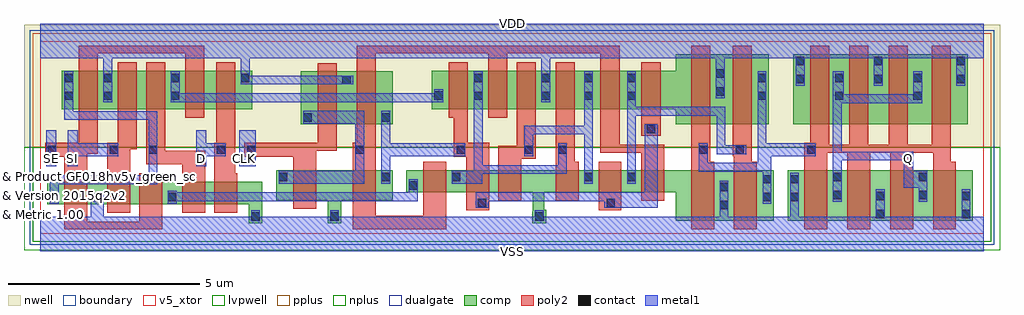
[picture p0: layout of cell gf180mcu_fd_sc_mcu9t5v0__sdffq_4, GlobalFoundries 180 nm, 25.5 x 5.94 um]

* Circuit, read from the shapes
.subckt gf180mcu_fd_sc_mcu9t5v0__sdffq_4 CLK D Q SE SI VDD VSS
XM1 VSS SE n1 VSUBS nfet_05v0 w=0.58u l=0.6u
XM2 n2 SI VSS VSUBS nfet_05v0 w=0.58u l=0.6u
XM3 n3 SE n2 VSUBS nfet_05v0 w=0.58u l=0.6u
XM4 n4 n1 n3 VSUBS nfet_05v0 w=0.58u l=0.6u
XM5 VSS D n4 VSUBS nfet_05v0 w=0.58u l=0.6u
XM6 VSS CLK n5 VSUBS nfet_05v0 w=0.79u l=0.6u
XM7 n6 n5 VSS VSUBS nfet_05v0 w=0.79u l=0.6u
XM8 n7 n5 n3 VSUBS nfet_05v0 w=0.58u l=0.6u
XM9 n8 n6 n7 VSUBS nfet_05v0 w=0.58u l=0.6u
XM10 VSS n9 n8 VSUBS nfet_05v0 w=0.58u l=0.6u
XM11 n9 n7 VSS VSUBS nfet_05v0 w=0.58u l=0.6u
XM12 n10 n6 n9 VSUBS nfet_05v0 w=0.58u l=0.6u
XM13 n11 n5 n10 VSUBS nfet_05v0 w=0.58u l=0.6u
XM14 VSS n12 n11 VSUBS nfet_05v0 w=1.32u l=0.6u
XM15 n12 n10 VSS VSUBS nfet_05v0 w=1.32u l=0.6u
XM16 Q n12 VSS VSUBS nfet_05v0 w=1.32u l=0.6u m=4
XM17 VDD SE n1 n13 pfet_05v0 w=1u l=0.5u
XM18 n14 SI VDD n13 pfet_05v0 w=1u l=0.5u
XM19 n15 n1 n14 n13 pfet_05v0 w=1u l=0.5u
XM20 n16 SE n15 n13 pfet_05v0 w=1u l=0.5u
XM21 VDD D n16 n13 pfet_05v0 w=1u l=0.5u
XM22 VDD CLK n5 n13 pfet_05v0 w=1.38u l=0.5u
XM23 n6 n5 VDD n13 pfet_05v0 w=1.38u l=0.5u
XM24 n7 n6 n15 n13 pfet_05v0 w=1u l=0.5u
XM25 n17 n5 n7 n13 pfet_05v0 w=1u l=0.5u
XM26 VDD n9 n17 n13 pfet_05v0 w=1u l=0.5u
XM27 n9 n7 VDD n13 pfet_05v0 w=1u l=0.5u
XM28 n10 n5 n9 n13 pfet_05v0 w=1u l=0.5u
XM29 n18 n6 n10 n13 pfet_05v0 w=1u l=0.5u
XM30 VDD n12 n18 n13 pfet_05v0 w=1.83u l=0.5u
XM31 n12 n10 VDD n13 pfet_05v0 w=1.83u l=0.5u
XM32 Q n12 VDD n13 pfet_05v0 w=1.83u l=0.5u m=4
.ends

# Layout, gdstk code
import gdstk
lib = gdstk.Library(unit=1e-6, precision=1e-09)
def R(c, l, rs):  # rectangles x0, y0, x1, y1
    for r in rs: c.add(gdstk.rectangle(r[:2], r[2:], *l))
def A(c, l, x, y, w, h, nx, ny, dx, dy):  # array of equal rectangles
    R(c, l, [(x+i*dx, y+j*dy, x+i*dx+w, y+j*dy+h) for i in range(nx) for j in range(ny)])
def P(c, l, *ps):  # polygons
    for p in ps: c.add(gdstk.Polygon(p, *l))
boundary = (0, 0)
nwell = (21, 0)
comp = (22, 0)
poly2 = (30, 0)
pplus = (31, 0)
nplus = (32, 0)
contact = (33, 0)
metal1 = (34, 0)
dualgate = (55, 0)
v5_xtor = (112, 1)
lvpwell = (204, 0)

gf180mcu_fd_sc_mcu9t5v0_ = lib.new_cell('gf180mcu_fd_sc_mcu9t5v0__sdffq_4')
R(gf180mcu_fd_sc_mcu9t5v0_, boundary, [(0,0,24.64,5.04)])
R(gf180mcu_fd_sc_mcu9t5v0_, nwell, [(-0.43,2.265,25.07,5.47)])
R(gf180mcu_fd_sc_mcu9t5v0_, comp, [(19.52,0.345,24.36,1.665), (6.8,2.865,9.2,4.245), (19.67,2.865,24.225,4.695), (0.56,3.26,5.53,4.26)])
P(gf180mcu_fd_sc_mcu9t5v0_, comp, [(5.44,0.275),(5.44,0.78),(0.18,0.78),(0.18,1.36),(5.8,1.36),(5.8,0.275)],
  [(7.5,0.275),(7.5,0.875),(6.16,0.875),(6.16,1.665),(9.2,1.665),(9.2,0.875),(7.86,0.875),(7.86,0.275)],
  [(16.6,2.865),(16.6,3.26),(10.225,3.26),(10.225,4.26),(16.6,4.26),(16.6,4.695),(19.03,4.695),(19.03,2.865)],
  [(12.855,0.275),(12.855,0.595),(12.86,0.595),(12.86,1.085),(9.56,1.085),(9.56,1.665),(19.16,1.665),(19.16,0.345),(16.6,0.345),(16.6,1.085),(13.16,1.085),(13.16,0.635),(13.215,0.635),(13.215,0.275)])
R(gf180mcu_fd_sc_mcu9t5v0_, poly2, [(14.58,0.625,15.18,1.885), (15.7,2.565,16.2,4.48)])
P(gf180mcu_fd_sc_mcu9t5v0_, poly2, [(1.74,0.56),(1.74,2.38),(2.02,2.38),(2.02,4.48),(2.52,4.48),(2.52,2.215),(2.34,2.215),(2.34,0.56)],
  [(0.62,0.12),(0.62,2.02),(0.12,2.02),(0.12,2.38),(1,2.38),(1,4.92),(4.28,4.92),(4.28,3.04),(3.78,3.04),(3.78,4.72),(1.5,4.72),(1.5,2.095),(1.22,2.095),(1.22,0.32),(2.58,0.32),(2.58,1.58),(3.18,1.58),(3.18,0.12)],
  [(3.7,0.56),(3.7,1.82),(2.76,1.82),(2.76,4.48),(3.26,4.48),(3.26,2.18),(4.3,2.18),(4.3,0.56)],
  [(4.54,0.56),(4.54,2.38),(4.59,2.38),(4.59,4.48),(5.09,4.48),(5.09,1.58),(5.14,1.58),(5.14,0.56)],
  [(6.6,0.655),(6.6,2.02),(5.33,2.02),(5.33,2.38),(7.24,2.38),(7.24,4.465),(7.74,4.465),(7.74,2.18),(7.2,2.18),(7.2,0.655)],
  [(11.12,0.625),(11.12,2.02),(10.8,2.02),(10.8,3.04),(10.665,3.04),(10.665,4.48),(11.165,4.48),(11.165,2.38),(11.72,2.38),(11.72,0.625)],
  [(11.96,0.865),(11.96,2.305),(12.44,2.305),(12.44,4.48),(12.94,4.48),(12.94,1.965),(12.56,1.965),(12.56,0.865)],
  [(13.46,0.865),(13.46,4.48),(13.96,4.48),(13.96,1.885),(14.06,1.885),(14.06,0.865)],
  [(8.16,0.12),(8.16,2.38),(8.26,2.38),(8.26,4.92),(15.13,4.92),(15.13,2.325),(16.3,2.325),(16.3,0.865),(15.7,0.865),(15.7,2.125),(14.63,2.125),(14.63,4.72),(12.2,4.72),(12.2,3.04),(11.7,3.04),(11.7,4.72),(8.76,4.72),(8.76,0.48),(10,0.48),(10,1.885),(10.6,1.885),(10.6,0.12)],
  [(17,0.125),(17,4.915),(17.5,4.915),(17.5,1.885),(17.6,1.885),(17.6,0.125)],
  [(18.12,0.125),(18.12,2.03),(18.09,2.03),(18.09,4.915),(18.59,4.915),(18.59,1.885),(18.72,1.885),(18.72,0.125)],
  [(19.96,0.125),(19.96,2.38),(20.11,2.38),(20.11,4.915),(20.61,4.915),(20.61,2.325),(21.13,2.325),(21.13,4.915),(21.63,4.915),(21.63,2.325),(22.16,2.325),(22.16,4.915),(22.66,4.915),(22.66,2.325),(23.285,2.325),(23.285,4.915),(23.785,4.915),(23.785,1.885),(23.92,1.885),(23.92,0.125),(23.32,0.125),(23.32,2.125),(22.8,2.125),(22.8,0.125),(22.2,0.125),(22.2,2.125),(21.68,2.125),(21.68,0.125),(21.08,0.125),(21.08,2.125),(20.56,2.125),(20.56,0.125)])
R(gf180mcu_fd_sc_mcu9t5v0_, pplus, [(-0.2,2.265,24.84,5.24)])
R(gf180mcu_fd_sc_mcu9t5v0_, nplus, [(-0.2,-0.2,24.84,2.265)])
A(gf180mcu_fd_sc_mcu9t5v0_, contact, 13.09, 3.5, 0.22, 0.22, 3, 2, 1.12, 0.47)
R(gf180mcu_fd_sc_mcu9t5v0_, contact, [(5.51,0.345,5.73,0.565), (7.57,0.345,7.79,0.565), (12.925,0.345,13.145,0.565), (21.83,0.415,22.05,0.635), (24.07,0.415,24.29,0.635), (17.75,0.645,17.97,0.865), (11.43,0.695,11.65,0.915), (14.79,0.695,15.01,0.915), (0.25,0.85,0.47,1.07), (1.37,0.85,1.59,1.07), (3.33,0.85,3.55,1.07), (18.87,0.85,19.09,1.07), (19.59,0.85,19.81,1.07), (21.83,0.885,22.05,1.105), (24.07,0.885,24.29,1.105), (20.71,0.905,20.93,1.125), (22.95,0.905,23.17,1.125), (17.75,1.115,17.97,1.335), (9.63,1.155,9.85,1.375), (18.87,1.32,19.09,1.54), (19.59,1.32,19.81,1.54), (6.23,1.375,6.45,1.595), (8.91,1.375,9.13,1.595), (10.75,1.375,10.97,1.595), (14.21,1.375,14.43,1.595), (15.33,1.375,15.55,1.595), (20.71,1.375,20.93,1.595), (22.95,1.375,23.17,1.595), (0.19,2.09,0.41,2.31), (1.81,2.09,2.03,2.31), (2.83,2.09,3.05,2.31), (4.61,2.09,4.83,2.31), (5.4,2.09,5.62,2.31), (8.23,2.09,8.45,2.31), (10.87,2.09,11.09,2.31), (12.65,2.09,12.87,2.31), (13.53,2.09,13.75,2.31), (17.21,2.09,17.43,2.31), (18.16,2.09,18.38,2.31), (20.03,2.09,20.25,2.31), (15.845,2.635,16.065,2.855), (6.87,2.935,7.09,3.155), (8.91,2.935,9.13,3.155), (0.63,3.5,0.85,3.72), (1.65,3.5,1.87,3.72), (3.41,3.5,3.63,3.72), (11.33,3.5,11.55,3.72), (18.74,3.5,18.96,3.72), (20.76,3.5,20.98,3.72), (22.81,3.5,23.03,3.72), (10.295,3.505,10.515,3.725), (17.65,3.61,17.87,3.83), (7.89,3.91,8.11,4.13), (19.74,3.935,19.96,4.155), (21.78,3.935,22,4.155), (23.935,3.935,24.155,4.155), (5.24,3.965,5.46,4.185), (0.63,3.97,0.85,4.19), (1.65,3.97,1.87,4.19), (3.41,3.97,3.63,4.19), (11.33,3.97,11.55,4.19), (18.74,3.97,18.96,4.19), (20.76,3.97,20.98,4.19), (22.81,3.97,23.03,4.19), (17.65,4.08,17.87,4.3), (19.74,4.405,19.96,4.625), (21.78,4.405,22,4.625), (23.935,4.405,24.155,4.625)])
R(gf180mcu_fd_sc_mcu9t5v0_, metal1, [(0.15,1.77,0.415,2.71), (5.19,1.77,5.625,2.71)])
P(gf180mcu_fd_sc_mcu9t5v0_, metal1, [(0.71,1.77),(0.71,2.71),(0.97,2.71),(0.97,2.37),(2.035,2.37),(2.035,2.03),(0.97,2.03),(0.97,1.77)],
  [(0.245,0.79),(0.245,1.535),(2.825,1.535),(2.825,2.98),(0.625,2.98),(0.625,4.25),(0.855,4.25),(0.855,3.21),(3.055,3.21),(3.055,1.305),(0.475,1.305),(0.475,0.79)],
  [(4.07,1.77),(4.07,2.71),(4.33,2.71),(4.33,2.37),(4.835,2.37),(4.835,2.03),(4.33,2.03),(4.33,1.77)],
  [(6.225,1.315),(6.225,1.655),(8.225,1.655),(8.225,2.875),(6.865,2.875),(6.865,3.215),(8.455,3.215),(8.455,1.315)],
  [(3.325,0.79),(3.325,1.13),(3.555,1.13),(3.555,1.085),(9.625,1.085),(9.625,1.435),(9.855,1.435),(9.855,0.855),(3.555,0.855),(3.555,0.79)],
  [(3.405,3.44),(3.405,4.25),(3.635,4.25),(3.635,3.675),(10.29,3.675),(10.29,3.785),(10.52,3.785),(10.52,3.445),(3.635,3.445),(3.635,3.44)],
  [(8.905,1.315),(8.905,3.215),(9.135,3.215),(9.135,2.37),(11.095,2.37),(11.095,2.03),(9.135,2.03),(9.135,1.315)],
  [(10.745,1.315),(10.745,1.655),(11.325,1.655),(11.325,4.25),(11.555,4.25),(11.555,1.8),(13.525,1.8),(13.525,2.37),(13.755,2.37),(13.755,1.57),(11.54,1.57),(11.54,1.315)],
  [(14.205,1.315),(14.205,2.6),(12.875,2.6),(12.875,2.03),(12.645,2.03),(12.645,2.83),(14.205,2.83),(14.205,4.25),(14.435,4.25),(14.435,1.315)],
  [(11.37,0.69),(11.37,1.085),(15.785,1.085),(15.785,2.86),(16.125,2.86),(16.125,0.69),(14.73,0.69),(14.73,0.855),(11.71,0.855),(11.71,0.69)],
  [(15.325,1.315),(15.325,4.25),(15.555,4.25),(15.555,3.32),(17.895,3.32),(17.895,2.315),(18.44,2.315),(18.44,2.085),(17.665,2.085),(17.665,3.09),(15.555,3.09),(15.555,1.315)],
  [(18.865,0.79),(18.865,1.625),(17.205,1.625),(17.205,2.37),(17.435,2.37),(17.435,1.855),(18.735,1.855),(18.735,4.25),(18.965,4.25),(18.965,2.37),(20.255,2.37),(20.255,2.03),(19.095,2.03),(19.095,0.79)],
  [(20.705,0.845),(20.705,4.25),(20.985,4.25),(20.985,3.645),(22.805,3.645),(22.805,4.25),(23.035,4.25),(23.035,3.415),(20.935,3.415),(20.935,2.15),(22.81,2.15),(22.81,1.655),(23.175,1.655),(23.175,0.845),(22.945,0.845),(22.945,1.21),(22.55,1.21),(22.55,1.92),(20.935,1.92),(20.935,0.845)],
  [(0,-0.45),(0,0.45),(1.31,0.45),(1.31,1.075),(1.65,1.075),(1.65,0.45),(5.505,0.45),(5.505,0.625),(5.735,0.625),(5.735,0.45),(7.565,0.45),(7.565,0.625),(7.795,0.625),(7.795,0.45),(12.92,0.45),(12.92,0.625),(13.15,0.625),(13.15,0.45),(17.745,0.45),(17.745,1.395),(17.975,1.395),(17.975,0.45),(19.585,0.45),(19.585,1.6),(19.815,1.6),(19.815,0.45),(21.825,0.45),(21.825,1.165),(22.055,1.165),(22.055,0.45),(24.065,0.45),(24.065,1.165),(24.295,1.165),(24.295,0.45),(24.64,0.45),(24.64,-0.45)],
  [(1.645,3.44),(1.645,4.59),(0,4.59),(0,5.49),(24.64,5.49),(24.64,4.59),(24.16,4.59),(24.16,3.875),(23.93,3.875),(23.93,4.59),(22.005,4.59),(22.005,3.875),(21.775,3.875),(21.775,4.59),(19.965,4.59),(19.965,3.875),(19.735,3.875),(19.735,4.59),(17.875,4.59),(17.875,3.55),(17.645,3.55),(17.645,4.59),(13.315,4.59),(13.315,3.44),(13.085,3.44),(13.085,4.59),(5.465,4.59),(5.465,4.135),(8.17,4.135),(8.17,3.905),(5.235,3.905),(5.235,4.59),(1.875,4.59),(1.875,3.44)])
R(gf180mcu_fd_sc_mcu9t5v0_, dualgate, [(-0.28,-0.28,24.92,5.32)])
R(gf180mcu_fd_sc_mcu9t5v0_, v5_xtor, [(0,0,24.64,5.04)])
R(gf180mcu_fd_sc_mcu9t5v0_, lvpwell, [(-0.43,-0.43,25.07,2.265)])
gf180mcu_fd_sc_mcu9t5v0_.add(gdstk.Label('CLK', (5.32,1.96), layer=34, texttype=10))
gf180mcu_fd_sc_mcu9t5v0_.add(gdstk.Label('D', (4.2,1.96), layer=34, texttype=10))
gf180mcu_fd_sc_mcu9t5v0_.add(gdstk.Label('Q', (22.68,1.96), layer=34, texttype=10))
gf180mcu_fd_sc_mcu9t5v0_.add(gdstk.Label('SE', (0.28,1.96), layer=34, texttype=10))
gf180mcu_fd_sc_mcu9t5v0_.add(gdstk.Label('SI', (0.84,1.96), layer=34, texttype=10))
gf180mcu_fd_sc_mcu9t5v0_.add(gdstk.Label('VDD', (12.32,5.49), layer=34, texttype=10))
gf180mcu_fd_sc_mcu9t5v0_.add(gdstk.Label('VSS', (12.32,-0.45), layer=34, texttype=10))
gf180mcu_fd_sc_mcu9t5v0_.add(gdstk.Label('& Vendor GLOBALFOUNDRIES', (0,2), layer=63, texttype=63))
gf180mcu_fd_sc_mcu9t5v0_.add(gdstk.Label('& Product GF018hv5v_green_sc9', (0,1.5), layer=63, texttype=63))
gf180mcu_fd_sc_mcu9t5v0_.add(gdstk.Label('& Version 2015q2v2', (0,1), layer=63, texttype=63))
gf180mcu_fd_sc_mcu9t5v0_.add(gdstk.Label('& Metric 1.00', (0,0.5), layer=63, texttype=63))

lib.write_gds('gf180mcu_fd_sc_mcu9t5v0__sdffq_4.gds')
